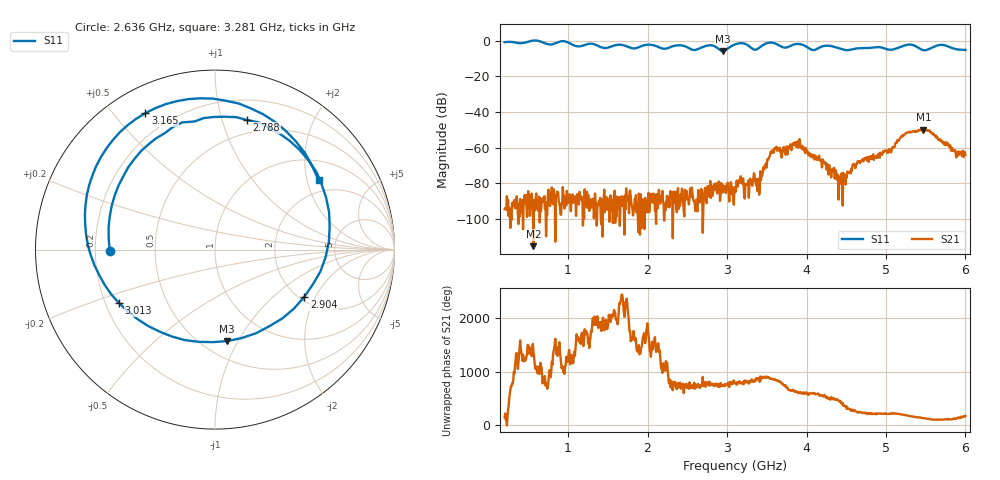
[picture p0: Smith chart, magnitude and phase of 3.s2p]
! NanoVNA-App
! Date: 2024-06-25 16:06:12
! Start: 200MHz Stop: 6GHz Points: 801
! S-Parameter data: F S11 S21 S12 S22
# Hz S RI R 50
!  Frequency  S11_Real  S11_Imag  S21_Real  S21_Imag  S12_Real  S12_Imag  S22_Real  S22_Imag
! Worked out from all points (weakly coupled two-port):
!   801 points, 200 MHz to 6 GHz, reference 50 ohm
!   highest |S21| = -49.90 dB at 5.471 GHz (marker M1); lowest = -115.3 dB at 562.5 MHz (marker M2)
!   lowest |S11| = -5.8 dB at 2.948 GHz (marker M3), VSWR 3.12, Z = 32.5 - j45.1 ohm
!   |S11| at or under -10 dB: nowhere
!   S12 and S22 are empty: the file has one direction only
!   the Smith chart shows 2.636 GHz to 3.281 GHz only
!   S11 on the Smith chart (normalised r, x): 2.636 GHz: 0.26, -0.01; 2.788 GHz: 0.37, +1.21; 2.904 GHz: 2.12, -1.64; 3.013 GHz: 0.26, -0.24; 3.165 GHz: 0.11, +0.61; 3.281 GHz: 1.58, +2.36
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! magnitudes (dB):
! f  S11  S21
! 200 MHz  -0.8  -94.5
! 562.5 MHz  0.1  -115.3
! 1.171 GHz  -2.9  -89.6
! 2.136 GHz  -3.5  -87.1
! 2.636 GHz  -4.6  -83.8
! 2.788 GHz  -2.6  -78.7
! 2.904 GHz  -5.0  -80.1
! 2.948 GHz  -5.8  -85.0
! 3.013 GHz  -4.3  -79.7
! 3.1 GHz  -2.1  -83.7
! 3.165 GHz  -1.4  -79.4
! 3.281 GHz  -3.2  -80.9
! 3.412 GHz  -3.7  -82.4
! 3.607 GHz  -1.5  -60.8
! 3.883 GHz  -1.7  -58.1
! 4.072 GHz  -5.1  -65.5
! 4.427 GHz  -4.4  -75.8
! 4.673 GHz  -4.2  -68.7
! 5.036 GHz  -5.0  -60.9
! 5.239 GHz  -2.6  -52.4
! 5.471 GHz  -5.3  -49.9
! 6 GHz  -5.2  -64.0
